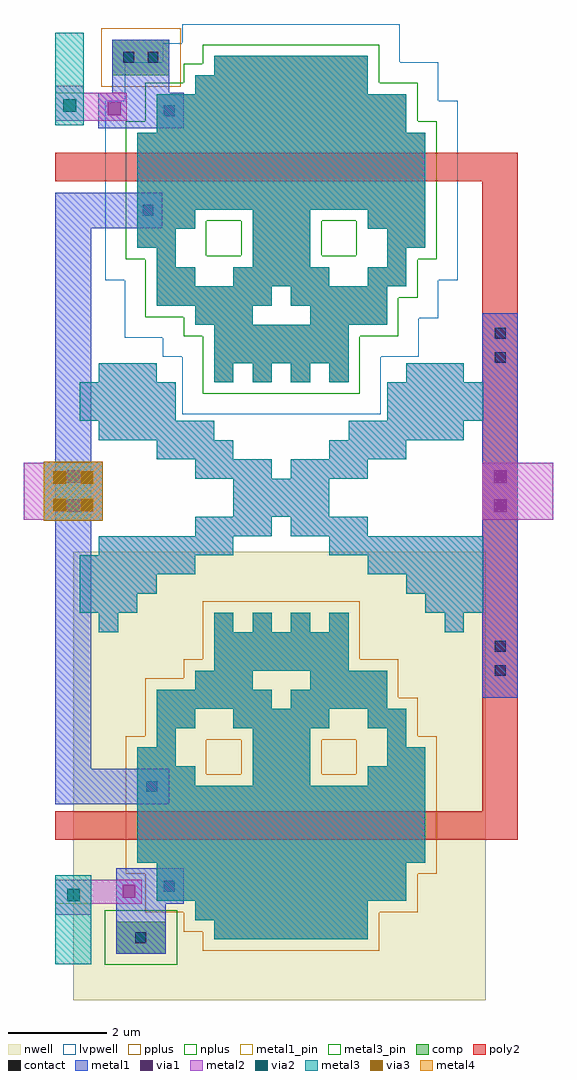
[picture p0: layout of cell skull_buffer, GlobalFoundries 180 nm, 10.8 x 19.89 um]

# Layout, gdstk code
import gdstk
lib = gdstk.Library(unit=1e-6, precision=1e-09)
def R(c, l, rs):  # rectangles x0, y0, x1, y1
    for r in rs: c.add(gdstk.rectangle(r[:2], r[2:], *l))
def P(c, l, *ps):  # polygons
    for p in ps: c.add(gdstk.Polygon(p, *l))
nwell = (21, 0)
comp = (22, 0)
poly2 = (30, 0)
pplus = (31, 0)
nplus = (32, 0)
contact = (33, 0)
metal1 = (34, 0)
metal1_pin = (34, 10)
via1 = (35, 0)
metal2 = (36, 0)
via2 = (38, 0)
via3 = (40, 0)
metal3 = (42, 0)
metal3_pin = (42, 10)
metal4 = (46, 0)
lvpwell = (204, 0)

skull_buffer = lib.new_cell('skull_buffer')
R(skull_buffer, nwell, [(-4.385,-10.08,4.025,-0.94), (-3.95,-9.64,3.59,-1.375)])
R(skull_buffer, comp, [(-3.515,-9.135,-2.5,-8.48), (-1.515,-8.845,1.615,-8.455), (-1.905,-8.455,1.615,-8.06), (-2.69,-8.06,2.4,-7.28), (-3.08,-7.28,2.79,-5.715), (-3.08,-5.715,-1.905,-5.32), (-0.73,-5.715,0.44,-4.54), (1.615,-5.715,2.79,-5.32), (-3.08,-5.32,-2.3,-4.93), (2.01,-5.32,2.79,-4.93), (-2.69,-4.93,-2.3,-4.54), (2.01,-4.93,2.4,-4.54), (-2.69,-4.54,-1.905,-4.145), (-1.125,-4.54,0.835,-4.145), (1.615,-4.54,2.4,-4.145), (-2.69,-4.145,-0.34,-3.755), (0.05,-4.145,2.01,-3.755), (-1.905,-3.755,-0.73,-3.365), (0.44,-3.755,2.01,-3.365), (-1.515,-3.365,1.225,-2.58), (-1.515,-2.58,-1.125,-2.19), (-0.73,-2.58,-0.34,-2.19), (0.05,-2.58,0.44,-2.19), (0.835,-2.58,1.225,-2.19), (-1.515,2.51,-1.125,2.9), (-0.73,2.51,-0.34,2.9), (0.05,2.51,0.44,2.9), (0.835,2.51,1.225,2.9), (-1.515,2.9,1.225,3.685), (-1.905,3.685,-0.73,4.075), (0.44,3.685,2.01,4.075), (-2.69,4.075,-0.34,4.465), (0.05,4.075,2.01,4.465), (-2.69,4.465,-1.905,4.855), (-1.125,4.465,0.835,4.855), (1.615,4.465,2.4,4.855), (-2.69,4.855,-2.3,5.25), (-0.73,4.855,0.44,6.03), (2.01,4.855,2.4,5.25), (-3.08,5.25,-2.3,5.64), (2.01,5.25,2.79,5.64), (-3.08,5.64,-1.905,6.03), (1.615,5.64,2.79,6.03), (-3.08,6.03,2.79,7.6), (-2.69,7.6,2.4,8.38), (-1.905,8.38,1.615,8.77), (-3.59,8.77,-2.43,9.495), (-1.515,8.77,1.615,9.165)])
R(skull_buffer, poly2, [(-4.75,-6.815,4.675,-6.235), (3.95,-6.235,4.675,6.61), (-4.75,6.61,4.675,7.19)])
R(skull_buffer, pplus, [(-3.82,8.54,-2.195,9.73)])
P(skull_buffer, pplus, [(-1.745,-9.075),(-1.745,-8.685),(-2.14,-8.685),(-2.14,-8.295),(-2.92,-8.295),(-2.92,-7.51),(-3.315,-7.51),(-3.315,-5.48),(-1.675,-5.48),(-0.965,-5.48),(0.675,-5.48),(1.385,-5.48),(1.385,-4.77),(0.675,-4.77),(0.675,-5.48),(-0.965,-5.48),(-0.965,-4.77),(-1.675,-4.77),(-1.675,-5.48),(-3.315,-5.48),(-3.315,-4.7),(-2.92,-4.7),(-2.92,-3.525),(-2.14,-3.525),(-2.14,-3.13),(-1.745,-3.13),(-1.745,-1.955),(1.455,-1.955),(1.455,-3.13),(2.24,-3.13),(2.24,-3.915),(2.63,-3.915),(2.63,-4.7),(3.025,-4.7),(3.025,-7.51),(2.63,-7.51),(2.63,-8.295),(1.85,-8.295),(1.85,-9.075)])
R(skull_buffer, nplus, [(-3.75,-9.365,-2.27,-8.25)])
P(skull_buffer, nplus, [(-1.745,2.275),(-1.745,3.45),(-2.14,3.45),(-2.14,3.84),(-2.92,3.84),(-2.92,5.015),(-3.315,5.015),(-3.315,5.09),(-1.675,5.09),(-0.965,5.09),(0.675,5.09),(1.385,5.09),(1.385,5.8),(0.675,5.8),(0.675,5.09),(-0.965,5.09),(-0.965,5.8),(-1.675,5.8),(-1.675,5.09),(-3.315,5.09),(-3.315,7.83),(-2.92,7.83),(-2.92,8.615),(-2.14,8.615),(-2.14,9.005),(-1.745,9.005),(-1.745,9.395),(1.85,9.395),(1.85,8.615),(2.63,8.615),(2.63,7.83),(3.025,7.83),(3.025,5.015),(2.63,5.015),(2.63,4.235),(2.24,4.235),(2.24,3.45),(1.455,3.45),(1.455,2.275)])
R(skull_buffer, contact, [(-3.12,-8.92,-2.9,-8.7), (-2.54,-7.87,-2.32,-7.65), (-2.9,-5.84,-2.68,-5.62), (4.205,-3.475,4.425,-3.255), (4.205,-2.98,4.425,-2.76), (4.205,2.905,4.425,3.125), (4.205,3.4,4.425,3.62), (-2.975,5.91,-2.755,6.13), (-2.54,7.935,-2.32,8.155), (-3.365,9.025,-3.145,9.245), (-2.87,9.025,-2.65,9.245)])
R(skull_buffer, metal1, [(-3.515,-9.135,-2.5,-8.12), (-3.515,-8.12,-2.14,-7.395), (-4.75,-6.09,-2.43,-5.365), (-4.75,-5.365,-4.025,5.655), (3.95,-3.915,4.675,3.915), (-4.75,5.655,-2.575,6.38), (-3.88,7.685,-2.14,8.41), (-3.59,8.41,-2.43,9.495)])
R(skull_buffer, metal1_pin, [(-4.75,-0.29,-4.025,0.87), (3.95,-0.29,4.675,0.87)])
R(skull_buffer, via1, [(-3.38,-7.995,-3.12,-7.735), (-4.515,-0.135,-4.255,0.125), (4.185,-0.135,4.445,0.125), (-4.515,0.455,-4.255,0.715), (4.185,0.455,4.445,0.715), (-3.68,7.955,-3.42,8.215)])
R(skull_buffer, metal2, [(-1.515,-8.845,1.615,-8.455), (-1.905,-8.455,1.615,-8.06), (-4.75,-8.34,-4.025,-8.12), (-4.75,-8.12,-2.995,-7.625), (-2.69,-8.06,2.4,-7.28), (-3.08,-7.28,2.79,-5.715), (-3.08,-5.715,-1.905,-5.32), (-0.73,-5.715,0.44,-4.54), (1.615,-5.715,2.79,-5.32), (-3.08,-5.32,-2.3,-4.93), (2.01,-5.32,2.79,-4.93), (-2.69,-4.93,-2.3,-4.54), (2.01,-4.93,2.4,-4.54), (-2.69,-4.54,-1.905,-4.145), (-1.125,-4.54,0.835,-4.145), (1.615,-4.54,2.4,-4.145), (-2.69,-4.145,-0.34,-3.755), (0.05,-4.145,2.01,-3.755), (-1.905,-3.755,-0.73,-3.365), (0.44,-3.755,2.01,-3.365), (-1.515,-3.365,1.225,-2.58), (-3.865,-2.58,-3.475,-2.19), (-1.515,-2.58,-1.125,-2.19), (-0.73,-2.58,-0.34,-2.19), (0.05,-2.58,0.44,-2.19), (0.835,-2.58,1.225,-2.19), (3.185,-2.58,3.575,-2.19), (-4.255,-2.19,-3.08,-1.8), (2.79,-2.19,3.965,-1.8), (-4.255,-1.8,-2.69,-1.405), (2.4,-1.8,3.965,-1.405), (-4.255,-1.405,-1.905,-1.015), (1.615,-1.405,3.965,-1.015), (-3.865,-1.015,-1.125,-0.625), (0.835,-1.015,3.965,-0.625), (-1.905,-0.625,-0.34,-0.23), (0.05,-0.625,1.615,-0.23), (-4.985,-0.31,-3.785,0.89), (-5.4,-0.295,-4.025,0.87), (3.95,-0.29,5.4,0.87), (-1.125,-0.23,0.835,0.55), (-1.905,0.55,-0.34,0.94), (0.05,0.55,1.615,0.94), (-2.69,0.94,-1.125,1.335), (0.835,0.94,2.4,1.335), (-3.865,1.335,-1.515,1.725), (1.225,1.335,3.575,1.725), (-4.255,1.725,-2.3,2.51), (2.01,1.725,3.965,2.51), (-3.865,2.51,-2.69,2.9), (-1.515,2.51,-1.125,2.9), (-0.73,2.51,-0.34,2.9), (0.05,2.51,0.44,2.9), (0.835,2.51,1.225,2.9), (2.4,2.51,3.575,2.9), (-1.515,2.9,1.225,3.685), (-1.905,3.685,-0.73,4.075), (0.44,3.685,2.01,4.075), (-2.69,4.075,-0.34,4.465), (0.05,4.075,2.01,4.465), (-2.69,4.465,-1.905,4.855), (-1.125,4.465,0.835,4.855), (1.615,4.465,2.4,4.855), (-2.69,4.855,-2.3,5.25), (-0.73,4.855,0.44,6.03), (2.01,4.855,2.4,5.25), (-3.08,5.25,-2.3,5.64), (2.01,5.25,2.79,5.64), (-3.08,5.64,-1.905,6.03), (1.615,5.64,2.79,6.03), (-3.08,6.03,2.79,7.6), (-2.69,7.6,2.4,8.38), (-4.75,7.845,-3.3,8.41), (-1.905,8.38,1.615,8.77), (-4.75,8.41,-4.17,8.555), (-1.515,8.77,1.615,9.165)])
R(skull_buffer, via2, [(-4.515,-8.07,-4.255,-7.81), (-4.795,-0.12,-4.535,0.14), (-4.235,-0.12,-3.975,0.14), (-4.795,0.44,-4.535,0.7), (-4.235,0.44,-3.975,0.7), (-4.59,8.025,-4.33,8.285)])
R(skull_buffer, via3, [(-4.795,-0.12,-4.535,0.14), (-4.235,-0.12,-3.975,0.14), (-4.795,0.44,-4.535,0.7), (-4.235,0.44,-3.975,0.7)])
R(skull_buffer, metal3, [(-4.75,-9.35,-4.025,-7.54), (-1.515,-8.845,1.615,-8.455), (-1.905,-8.455,1.615,-8.06), (-2.69,-8.06,2.4,-7.28), (-3.08,-7.28,2.79,-5.715), (-3.08,-5.715,-1.905,-5.32), (-0.73,-5.715,0.44,-4.54), (1.615,-5.715,2.79,-5.32), (-3.08,-5.32,-2.3,-4.93), (2.01,-5.32,2.79,-4.93), (-2.69,-4.93,-2.3,-4.54), (2.01,-4.93,2.4,-4.54), (-2.69,-4.54,-1.905,-4.145), (-1.125,-4.54,0.835,-4.145), (1.615,-4.54,2.4,-4.145), (-2.69,-4.145,-0.34,-3.755), (0.05,-4.145,2.01,-3.755), (-1.905,-3.755,-0.73,-3.365), (0.44,-3.755,2.01,-3.365), (-1.515,-3.365,1.225,-2.58), (-3.865,-2.58,-3.475,-2.19), (-1.515,-2.58,-1.125,-2.19), (-0.73,-2.58,-0.34,-2.19), (0.05,-2.58,0.44,-2.19), (0.835,-2.58,1.225,-2.19), (3.185,-2.58,3.575,-2.19), (-4.255,-2.19,-3.08,-1.8), (2.79,-2.19,3.965,-1.8), (-4.255,-1.8,-2.69,-1.405), (2.4,-1.8,3.965,-1.405), (-4.255,-1.405,-1.905,-1.015), (1.615,-1.405,3.965,-1.015), (-3.865,-1.015,-1.125,-0.625), (0.835,-1.015,3.965,-0.625), (-1.905,-0.625,-0.34,-0.23), (0.05,-0.625,1.615,-0.23), (-4.985,-0.31,-3.785,0.89), (-1.125,-0.23,0.835,0.55), (-1.905,0.55,-0.34,0.94), (0.05,0.55,1.615,0.94), (-2.69,0.94,-1.125,1.335), (0.835,0.94,2.4,1.335), (-3.865,1.335,-1.515,1.725), (1.225,1.335,3.575,1.725), (-4.255,1.725,-2.3,2.51), (2.01,1.725,3.965,2.51), (-3.865,2.51,-2.69,2.9), (-1.515,2.51,-1.125,2.9), (-0.73,2.51,-0.34,2.9), (0.05,2.51,0.44,2.9), (0.835,2.51,1.225,2.9), (2.4,2.51,3.575,2.9), (-1.515,2.9,1.225,3.685), (-1.905,3.685,-0.73,4.075), (0.44,3.685,2.01,4.075), (-2.69,4.075,-0.34,4.465), (0.05,4.075,2.01,4.465), (-2.69,4.465,-1.905,4.855), (-1.125,4.465,0.835,4.855), (1.615,4.465,2.4,4.855), (-2.69,4.855,-2.3,5.25), (-0.73,4.855,0.44,6.03), (2.01,4.855,2.4,5.25), (-3.08,5.25,-2.3,5.64), (2.01,5.25,2.79,5.64), (-3.08,5.64,-1.905,6.03), (1.615,5.64,2.79,6.03), (-3.08,6.03,2.79,7.6), (-2.69,7.6,2.4,8.38), (-4.75,7.755,-4.17,9.64), (-1.905,8.38,1.615,8.77), (-1.515,8.77,1.615,9.165)])
R(skull_buffer, metal3_pin, [(-4.75,-8.12,-4.025,-7.54), (-4.75,7.755,-4.17,8.41)])
R(skull_buffer, metal4, [(-4.985,-0.31,-3.785,0.89)])
P(skull_buffer, lvpwell, [(-2.17,1.855),(-2.17,3.03),(-2.56,3.03),(-2.56,3.42),(-3.34,3.42),(-3.34,4.595),(-3.735,4.595),(-3.735,8.25),(-3.34,8.25),(-3.34,9.035),(-2.56,9.035),(-2.56,9.425),(-2.17,9.425),(-2.17,9.815),(2.27,9.815),(2.27,9.035),(3.05,9.035),(3.05,8.25),(3.445,8.25),(3.445,4.595),(3.05,4.595),(3.05,3.815),(2.66,3.815),(2.66,3.03),(1.88,3.03),(1.88,1.855)])

lib.write_gds('skull_buffer.gds')
